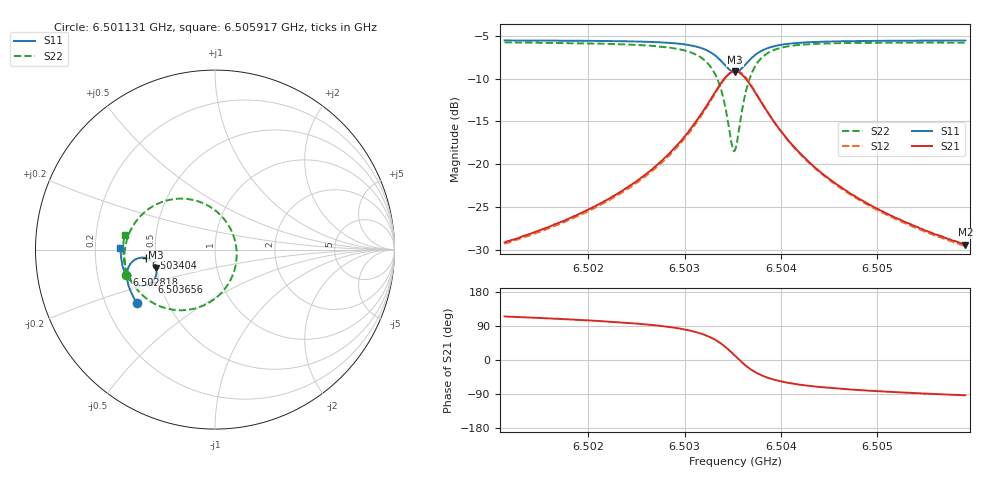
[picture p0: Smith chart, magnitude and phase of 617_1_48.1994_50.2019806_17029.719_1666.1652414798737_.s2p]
#  HZ  S  RI  R  50.00
! Rohde & Schwarz Vector Network Analyzer
! Rohde-Schwarz,ZNB20-2Port,1311601062101988,3.16
! Created: UTC 3/20/2024, 12:03:44 PM
! freq[Hz]  re:S11  im:S11  re:S21  im:S21  re:S12  im:S12  re:S22  im:S22
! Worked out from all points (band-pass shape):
!   401 points, 6.501131 GHz to 6.505917 GHz, reference 50 ohm
!   highest |S21| = -9.16 dB at 6.503524 GHz (marker M1); lowest = -29.4 dB at 6.505917 GHz (marker M2)
!   |S21| within 3 dB of the highest: 6.503285 GHz to 6.503763 GHz (478.3 kHz wide, 0.00735 % of centre)
!   lowest |S11| = -9.3 dB at 6.503524 GHz (marker M3), VSWR 2.05, Z = 24.8 - j5.64 ohm
!   |S11| at or under -10 dB: nowhere
!   |S22| runs from -18.5 to -5.8 dB; largest |S21 - S12| = 0.012
!   S11 on the Smith chart (normalised r, x): 6.501131 GHz: 0.34, -0.28; 6.502818 GHz: 0.33, -0.13; 6.503404 GHz: 0.44, -0.05; 6.503656 GHz: 0.45, -0.19; 6.505917 GHz: 0.31, +0.01
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6.5011309e9  -0.4348 -0.2978  -0.0148 0.0318  -0.013 0.032  -0.4941 -0.1395
6.5019325e9  -0.468 -0.2369  -0.0139 0.0505  -0.0113 0.05  -0.5046 -0.0515
6.5023513e9  -0.4822 -0.1988  -0.0109 0.0694  -0.00778 0.0683  -0.5004 0.0104
6.5027342e9  -0.4905 -0.1551  -0.00079 0.1015  0.00288 0.0991  -0.478 0.0906
6.502818e9  -0.4908 -0.1434  0.00415 0.1121  0.00799 0.1093  -0.4672 0.1138
6.5030214e9  -0.486 -0.1094  0.0274 0.1476  0.0312 0.1431  -0.4189 0.1831
6.5031649e9  -0.4712 -0.0793  0.0658 0.182  0.0687 0.1761  -0.3443 0.2426
6.5033085e9  -0.4321 -0.0495  0.1499 0.2112  0.1505 0.2048  -0.1916 0.284
6.5034042e9  -0.3843 -0.047  0.2436 0.1939  0.2439 0.1892  -0.0291 0.2394
6.503488e9  -0.3401 -0.0773  0.3237 0.117  0.3266 0.113  0.0991 0.0881
6.5035239e9  -0.3291 -0.1002  0.3418 0.067  0.3458 0.0615  0.1205 -0.00627
6.5035478e9  -0.326 -0.1171  0.3452 0.0314  0.3497 0.0243  0.118 -0.0716
6.5035837e9  -0.3283 -0.1421  0.3375 -0.0202  0.3416 -0.0296  0.0896 -0.1631
6.5036555e9  -0.3511 -0.1802  0.2892 -0.0985  0.2895 -0.1108  -0.024 -0.2899
6.5037034e9  -0.3724 -0.1944  0.2481 -0.128  0.2453 -0.1401  -0.1105 -0.3278
6.5037632e9  -0.398 -0.2012  0.1995 -0.145  0.1943 -0.1554  -0.2055 -0.3376
6.5039187e9  -0.4466 -0.1918  0.1132 -0.1406  0.1061 -0.1461  -0.3606 -0.2876
6.5040863e9  -0.4749 -0.1704  0.0666 -0.1188  0.0601 -0.1214  -0.4361 -0.2195
6.5043256e9  -0.4961 -0.1405  0.0354 -0.0929  0.0304 -0.0935  -0.4811 -0.1446
6.5046845e9  -0.5119 -0.1019  0.0157 -0.0683  0.0121 -0.0679  -0.5043 -0.0684
6.5051272e9  -0.5213 -0.0599  0.00549 -0.0506  0.0029 -0.0499  -0.511 -0.00265
6.5059169e9  -0.5266 0.00776  -0.00184 -0.034  -0.0033 -0.0333  -0.5041 0.084
